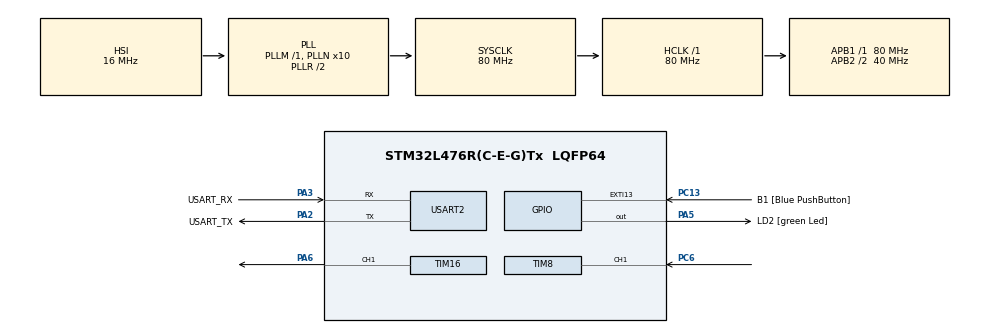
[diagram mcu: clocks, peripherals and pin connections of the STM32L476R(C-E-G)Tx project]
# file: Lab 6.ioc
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Mcu.Family=STM32L4
Mcu.Name=STM32L476R(C-E-G)Tx
Mcu.Package=LQFP64
NVIC.PriorityGroup=NVIC_PRIORITYGROUP_4
NVIC.TIM1_UP_TIM16_IRQn=true\:15\:0\:false\:false\:true\:false\:true\:true
NVIC.TimeBase=TIM1_UP_TIM16_IRQn
NVIC.TimeBaseIP=TIM1
PA13\ (JTMS-SWDIO).GPIO_Label=TMS
PA13\ (JTMS-SWDIO).Mode=Serial_Wire
PA13\ (JTMS-SWDIO).Signal=SYS_JTMS-SWDIO
PA14\ (JTCK-SWCLK).GPIO_Label=TCK
PA14\ (JTCK-SWCLK).Mode=Serial_Wire
PA14\ (JTCK-SWCLK).Signal=SYS_JTCK-SWCLK
PA2.GPIO_Label=USART_TX
PA2.GPIO_Mode=GPIO_MODE_AF_PP
PA2.GPIO_PuPd=GPIO_NOPULL
PA2.GPIO_Speed=GPIO_SPEED_FREQ_VERY_HIGH
PA2.Mode=Asynchronous
PA2.Signal=USART2_TX
PA3.GPIO_Label=USART_RX
PA3.GPIO_Mode=GPIO_MODE_AF_PP
PA3.GPIO_PuPd=GPIO_NOPULL
PA3.GPIO_Speed=GPIO_SPEED_FREQ_VERY_HIGH
PA3.Mode=Asynchronous
PA3.Signal=USART2_RX
PA5.GPIO_Label=LD2 [green Led]
PA5.GPIO_ModeDefaultOutputPP=GPIO_MODE_OUTPUT_PP
PA5.GPIO_PuPd=GPIO_NOPULL
PA5.GPIO_Speed=GPIO_SPEED_FREQ_LOW
PA5.Signal=GPIO_Output
PA6.Signal=S_TIM16_CH1
PB3\ (JTDO-TRACESWO).GPIO_Label=SWO
PB3\ (JTDO-TRACESWO).Signal=SYS_JTDO-SWO
PC13.GPIO_Label=B1 [Blue PushButton]
PC13.GPIO_ModeDefaultEXTI=GPIO_MODE_IT_FALLING
PC13.GPIO_PuPd=GPIO_NOPULL
PC13.Signal=GPXTI13
PC14-OSC32_IN\ (PC14).Mode=LSE-External-Oscillator
PC14-OSC32_IN\ (PC14).Signal=RCC_OSC32_IN
PC15-OSC32_OUT\ (PC15).Mode=LSE-External-Oscillator
PC15-OSC32_OUT\ (PC15).Signal=RCC_OSC32_OUT
PC6.Signal=S_TIM8_CH1
PH0-OSC_IN\ (PH0).Signal=RCC_OSC_IN
PH1-OSC_OUT\ (PH1).Signal=RCC_OSC_OUT
ProjectManager.HeapSize=0x200
ProjectManager.StackSize=0x400
ProjectManager.TargetToolchain=STM32CubeIDE
RCC.ADCFreq_Value=64000000
RCC.AHBFreq_Value=80000000
RCC.APB1Freq_Value=80000000
RCC.APB1TimFreq_Value=80000000
RCC.APB2CLKDivider=RCC_HCLK_DIV2
RCC.APB2Freq_Value=40000000
RCC.APB2TimFreq_Value=80000000
RCC.CortexFreq_Value=80000000
RCC.HCLKFreq_Value=80000000
RCC.HSE_VALUE=8000000
RCC.HSI_VALUE=16000000
RCC.MSI_VALUE=4000000
RCC.PLLN=10
RCC.PLLSourceVirtual=RCC_PLLSOURCE_HSI
RCC.PREFETCH_ENABLE=1
RCC.SYSCLKFreq_VALUE=80000000
RCC.SYSCLKSource=RCC_SYSCLKSOURCE_PLLCLK
RCC.USBFreq_Value=64000000
RCC.VCOOutputFreq_Value=160000000
SH.S_TIM16_CH1.0=TIM16_CH1,PWM Generation1 CH1
SH.S_TIM8_CH1.0=TIM8_CH1,TriggerSource_TI1FP1
SH.S_TIM8_CH1.1=TIM8_CH1,Input_Capture1_from_TI1
TIM16.Channel=TIM_CHANNEL_1
TIM16.Period=39999
TIM16.Prescaler=199
TIM8.Channel-Input_Capture1_from_TI1=TIM_CHANNEL_1
TIM8.Prescaler=79
USART2.VirtualMode-Asynchronous=VM_ASYNC
VP_SYS_VS_tim1.Mode=TIM1
VP_TIM16_VS_ClockSourceINT.Mode=Enable_Timer
VP_TIM8_VS_ControllerModeReset.Mode=Reset Mode
board=NUCLEO-L476RG

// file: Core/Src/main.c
/* USER CODE BEGIN Header */
/**
  ******************************************************************************
  * @file           : main.c
  * @brief          : Main program body
  ******************************************************************************
  * @attention
  *
  * Copyright (c) 2025 STMicroelectronics.
  * All rights reserved.
  *
  * This software is licensed under terms that can be found in the LICENSE file
  * in the root directory of this software component.
  * If no LICENSE file comes with this software, it is provided AS-IS.
  *
  ******************************************************************************
  */
/* USER CODE END Header */
#include "main.h"

TIM_HandleTypeDef htim8;
TIM_HandleTypeDef htim16;

UART_HandleTypeDef huart2;

void SystemClock_Config(void);
static void MX_GPIO_Init(void);
static void MX_USART2_UART_Init(void);
static void MX_TIM8_Init(void);
static void MX_TIM16_Init(void);

int main(void)
{

  /* MCU Configuration--------------------------------------------------------*/

  /* Reset of all peripherals, Initializes the Flash interface and the Systick. */
  HAL_Init();

  /* Configure the system clock */
  SystemClock_Config();

  /* Initialize all configured peripherals */
  MX_GPIO_Init();
  MX_USART2_UART_Init();
  MX_TIM8_Init();
  MX_TIM16_Init();
  /* USER CODE BEGIN 2 */
  HAL_TIM_Base_Start(&htim16);          // trigger timer
  HAL_TIM_PWM_Start(&htim16, TIM_CHANNEL_1);

  HAL_TIM_Base_Start(&htim8);           // echo timer
  HAL_TIM_IC_Start(&htim8,  TIM_CHANNEL_1);

  /* USER CODE END 2 */

  /* Infinite loop */
  /* USER CODE BEGIN WHILE */
  while (1)
  {
      static uint32_t t0 = 0;
      if (HAL_GetTick() - t0 >= 100)       // 100ms print rate
      {
          t0 = HAL_GetTick();
          uint32_t echo = HAL_TIM_ReadCapturedValue(&htim8, TIM_CHANNEL_1);
          float dist_cm = echo / 58.0f;     // HC‑SR04 formula
          int   i_part  = (int)dist_cm;
          int   f_part  = (int)((dist_cm - i_part)*1000);

          char buf[64];
          snprintf(buf, sizeof(buf),
                   "echo=%lu  distance=%3d.%03d cm\r\n",
                   echo, i_part, f_part);
          HAL_UART_Transmit(&huart2,
                            (uint8_t*)buf, strlen(buf), 1000);
      }
    /* USER CODE END WHILE */

  }
}

void SystemClock_Config(void)
{
  RCC_OscInitTypeDef RCC_OscInitStruct = {0};
  RCC_ClkInitTypeDef RCC_ClkInitStruct = {0};

  /** Configure the main internal regulator output voltage
  */
  if (HAL_PWREx_ControlVoltageScaling(PWR_REGULATOR_VOLTAGE_SCALE1) != HAL_OK)
  {
    Error_Handler();
  }

  /** Initializes the RCC Oscillators according to the specified parameters
  * in the RCC_OscInitTypeDef structure.
  */
  RCC_OscInitStruct.OscillatorType = RCC_OSCILLATORTYPE_HSI;
  RCC_OscInitStruct.HSIState = RCC_HSI_ON;
  RCC_OscInitStruct.HSICalibrationValue = RCC_HSICALIBRATION_DEFAULT;
  RCC_OscInitStruct.PLL.PLLState = RCC_PLL_ON;
  RCC_OscInitStruct.PLL.PLLSource = RCC_PLLSOURCE_HSI;
  RCC_OscInitStruct.PLL.PLLM = 1;
  RCC_OscInitStruct.PLL.PLLN = 10;
  RCC_OscInitStruct.PLL.PLLP = RCC_PLLP_DIV7;
  RCC_OscInitStruct.PLL.PLLQ = RCC_PLLQ_DIV2;
  RCC_OscInitStruct.PLL.PLLR = RCC_PLLR_DIV2;
  if (HAL_RCC_OscConfig(&RCC_OscInitStruct) != HAL_OK)
  {
    Error_Handler();
  }

  /** Initializes the CPU, AHB and APB buses clocks
  */
  RCC_ClkInitStruct.ClockType = RCC_CLOCKTYPE_HCLK|RCC_CLOCKTYPE_SYSCLK
                              |RCC_CLOCKTYPE_PCLK1|RCC_CLOCKTYPE_PCLK2;
  RCC_ClkInitStruct.SYSCLKSource = RCC_SYSCLKSOURCE_PLLCLK;
  RCC_ClkInitStruct.AHBCLKDivider = RCC_SYSCLK_DIV1;
  RCC_ClkInitStruct.APB1CLKDivider = RCC_HCLK_DIV1;
  RCC_ClkInitStruct.APB2CLKDivider = RCC_HCLK_DIV2;

  if (HAL_RCC_ClockConfig(&RCC_ClkInitStruct, FLASH_LATENCY_4) != HAL_OK)
  {
    Error_Handler();
  }
}

static void MX_TIM8_Init(void)
{

  TIM_SlaveConfigTypeDef sSlaveConfig = {0};
  TIM_MasterConfigTypeDef sMasterConfig = {0};
  TIM_IC_InitTypeDef sConfigIC = {0};

  htim8.Instance = TIM8;
  htim8.Init.Prescaler = 79;
  htim8.Init.CounterMode = TIM_COUNTERMODE_UP;
  htim8.Init.Period = 65535;
  htim8.Init.ClockDivision = TIM_CLOCKDIVISION_DIV1;
  htim8.Init.RepetitionCounter = 0;
  htim8.Init.AutoReloadPreload = TIM_AUTORELOAD_PRELOAD_DISABLE;
  if (HAL_TIM_Base_Init(&htim8) != HAL_OK)
  {
    Error_Handler();
  }
  if (HAL_TIM_IC_Init(&htim8) != HAL_OK)
  {
    Error_Handler();
  }
  sSlaveConfig.SlaveMode = TIM_SLAVEMODE_RESET;
  sSlaveConfig.InputTrigger = TIM_TS_TI1FP1;
  sSlaveConfig.TriggerPolarity = TIM_INPUTCHANNELPOLARITY_RISING;
  sSlaveConfig.TriggerFilter = 0;
  if (HAL_TIM_SlaveConfigSynchro(&htim8, &sSlaveConfig) != HAL_OK)
  {
    Error_Handler();
  }
  sMasterConfig.MasterOutputTrigger = TIM_TRGO_RESET;
  sMasterConfig.MasterOutputTrigger2 = TIM_TRGO2_RESET;
  sMasterConfig.MasterSlaveMode = TIM_MASTERSLAVEMODE_DISABLE;
  if (HAL_TIMEx_MasterConfigSynchronization(&htim8, &sMasterConfig) != HAL_OK)
  {
    Error_Handler();
  }
  sConfigIC.ICPolarity = TIM_INPUTCHANNELPOLARITY_RISING;
  sConfigIC.ICSelection = TIM_ICSELECTION_DIRECTTI;
  sConfigIC.ICPrescaler = TIM_ICPSC_DIV1;
  sConfigIC.ICFilter = 0;
  if (HAL_TIM_IC_ConfigChannel(&htim8, &sConfigIC, TIM_CHANNEL_1) != HAL_OK)
  {
    Error_Handler();
  }

}

static void MX_TIM16_Init(void)
{

  TIM_OC_InitTypeDef sConfigOC = {0};
  TIM_BreakDeadTimeConfigTypeDef sBreakDeadTimeConfig = {0};

  htim16.Instance = TIM16;
  htim16.Init.Prescaler = 199;
  htim16.Init.CounterMode = TIM_COUNTERMODE_UP;
  htim16.Init.Period = 39999;
  htim16.Init.ClockDivision = TIM_CLOCKDIVISION_DIV1;
  htim16.Init.RepetitionCounter = 0;
  htim16.Init.AutoReloadPreload = TIM_AUTORELOAD_PRELOAD_DISABLE;
  if (HAL_TIM_Base_Init(&htim16) != HAL_OK)
  {
    Error_Handler();
  }
  if (HAL_TIM_PWM_Init(&htim16) != HAL_OK)
  {
    Error_Handler();
  }
  sConfigOC.OCMode = TIM_OCMODE_PWM1;
  sConfigOC.Pulse = 0;
  sConfigOC.OCPolarity = TIM_OCPOLARITY_HIGH;
  sConfigOC.OCNPolarity = TIM_OCNPOLARITY_HIGH;
  sConfigOC.OCFastMode = TIM_OCFAST_DISABLE;
  sConfigOC.OCIdleState = TIM_OCIDLESTATE_RESET;
  sConfigOC.OCNIdleState = TIM_OCNIDLESTATE_RESET;
  if (HAL_TIM_PWM_ConfigChannel(&htim16, &sConfigOC, TIM_CHANNEL_1) != HAL_OK)
  {
    Error_Handler();
  }
  sBreakDeadTimeConfig.OffStateRunMode = TIM_OSSR_DISABLE;
  sBreakDeadTimeConfig.OffStateIDLEMode = TIM_OSSI_DISABLE;
  sBreakDeadTimeConfig.LockLevel = TIM_LOCKLEVEL_OFF;
  sBreakDeadTimeConfig.DeadTime = 0;
  sBreakDeadTimeConfig.BreakState = TIM_BREAK_DISABLE;
  sBreakDeadTimeConfig.BreakPolarity = TIM_BREAKPOLARITY_HIGH;
  sBreakDeadTimeConfig.AutomaticOutput = TIM_AUTOMATICOUTPUT_DISABLE;
  if (HAL_TIMEx_ConfigBreakDeadTime(&htim16, &sBreakDeadTimeConfig) != HAL_OK)
  {
    Error_Handler();
  }
  HAL_TIM_MspPostInit(&htim16);

}

static void MX_USART2_UART_Init(void)
{

  huart2.Instance = USART2;
  huart2.Init.BaudRate = 115200;
  huart2.Init.WordLength = UART_WORDLENGTH_8B;
  huart2.Init.StopBits = UART_STOPBITS_1;
  huart2.Init.Parity = UART_PARITY_NONE;
  huart2.Init.Mode = UART_MODE_TX_RX;
  huart2.Init.HwFlowCtl = UART_HWCONTROL_NONE;
  huart2.Init.OverSampling = UART_OVERSAMPLING_16;
  huart2.Init.OneBitSampling = UART_ONE_BIT_SAMPLE_DISABLE;
  huart2.AdvancedInit.AdvFeatureInit = UART_ADVFEATURE_NO_INIT;
  if (HAL_UART_Init(&huart2) != HAL_OK)
  {
    Error_Handler();
  }

}

static void MX_GPIO_Init(void)
{
  GPIO_InitTypeDef GPIO_InitStruct = {0};

  /* GPIO Ports Clock Enable */
  __HAL_RCC_GPIOC_CLK_ENABLE();
  __HAL_RCC_GPIOH_CLK_ENABLE();
  __HAL_RCC_GPIOA_CLK_ENABLE();
  __HAL_RCC_GPIOB_CLK_ENABLE();

  /*Configure GPIO pin Output Level */
  HAL_GPIO_WritePin(LD2_GPIO_Port, LD2_Pin, GPIO_PIN_RESET);

  /*Configure GPIO pin : B1_Pin */
  GPIO_InitStruct.Pin = B1_Pin;
  GPIO_InitStruct.Mode = GPIO_MODE_IT_FALLING;
  GPIO_InitStruct.Pull = GPIO_NOPULL;
  HAL_GPIO_Init(B1_GPIO_Port, &GPIO_InitStruct);

  /*Configure GPIO pin : LD2_Pin */
  GPIO_InitStruct.Pin = LD2_Pin;
  GPIO_InitStruct.Mode = GPIO_MODE_OUTPUT_PP;
  GPIO_InitStruct.Pull = GPIO_NOPULL;
  GPIO_InitStruct.Speed = GPIO_SPEED_FREQ_LOW;
  HAL_GPIO_Init(LD2_GPIO_Port, &GPIO_InitStruct);

}

void HAL_TIM_PeriodElapsedCallback(TIM_HandleTypeDef *htim)
{
  if (htim->Instance == TIM1) {
    HAL_IncTick();
  }
}

void Error_Handler(void)
{
  __disable_irq();
  while (1)
  {
  }
}
